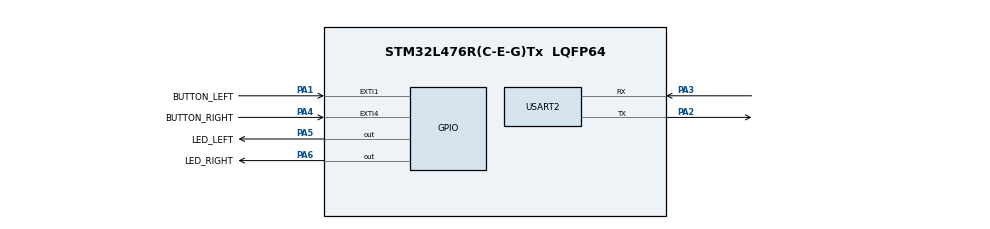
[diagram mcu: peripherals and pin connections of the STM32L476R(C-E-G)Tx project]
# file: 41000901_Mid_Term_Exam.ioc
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Mcu.Family=STM32L4
Mcu.Name=STM32L476R(C-E-G)Tx
Mcu.Package=LQFP64
NVIC.EXTI1_IRQn=true\:0\:0\:false\:false\:true\:true\:true\:true
NVIC.EXTI4_IRQn=true\:0\:0\:false\:false\:true\:true\:true\:true
NVIC.PriorityGroup=NVIC_PRIORITYGROUP_4
PA1.GPIO_Label=BUTTON_LEFT
PA1.Signal=GPXTI1
PA2.Mode=Asynchronous
PA2.Signal=USART2_TX
PA3.Mode=Asynchronous
PA3.Signal=USART2_RX
PA4.GPIO_Label=BUTTON_RIGHT
PA4.Signal=GPXTI4
PA5.GPIO_Label=LED_LEFT
PA5.PinState=GPIO_PIN_SET
PA5.Signal=GPIO_Output
PA6.GPIO_Label=LED_RIGHT
PA6.PinState=GPIO_PIN_SET
PA6.Signal=GPIO_Output
ProjectManager.HeapSize=0x200
ProjectManager.StackSize=0x400
ProjectManager.TargetToolchain=STM32CubeIDE
RCC.HSE_VALUE=8000000
RCC.HSI_VALUE=16000000
RCC.LSE_VALUE=32768
RCC.MSI_VALUE=4000000
RCC.VCOOutputFreq_Value=32000000
USART2.VirtualMode-Asynchronous=VM_ASYNC
board=custom

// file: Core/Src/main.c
/* USER CODE BEGIN Header */
/**
  ******************************************************************************
  * @file           : main.c
  * @brief          : Main program body
  ******************************************************************************
  * @attention
  *
  * Copyright (c) 2024 STMicroelectronics.
  * All rights reserved.
  *
  * This software is licensed under terms that can be found in the LICENSE file
  * in the root directory of this software component.
  * If no LICENSE file comes with this software, it is provided AS-IS.
  *
  ******************************************************************************
  */
/* USER CODE END Header */
#include "main.h"

UART_HandleTypeDef huart2;

/* USER CODE BEGIN PV */
uint32_t left_toggles = 0;
uint8_t BANDERALEFT1=0;
uint8_t BANDERALEFT2=0;
uint8_t BANDERARIGHT1=0;
uint8_t BANDERARIGHT2=0;
uint32_t buttonPressCount = 0;
uint32_t button2PressCount = 0;
uint32_t button3PressCount = 0;
uint32_t lastButtonPressTime = 0;
uint32_t debounceTime = 200; // Tiempo de debounce en ms
uint32_t doublePressTime = 500; // Tiempo máximo entre dos pulsaciones para considerar una doble pulsación
/* USER CODE END PV */

void SystemClock_Config(void);
static void MX_GPIO_Init(void);
static void MX_USART2_UART_Init(void);

/* USER CODE BEGIN 0 */
void turn_signal_left(void) //FUNCION ENCARGADA DEL ENCENDIDO Y APAGADO DEL LEDLEFT
{
	static uint32_t hearbeat_tick = 0;
	if (hearbeat_tick < HAL_GetTick()){
		hearbeat_tick = HAL_GetTick() + 500; //500 milisegundos para tener una frecuencia de 2Hz
		HAL_GPIO_TogglePin(LED_LEFT_GPIO_Port, LED_LEFT_Pin);
	}}
void turn_signal_right(void) //FUNCION ENCARGADA DEL ENCENDIDO Y APAGADO DEL LEDRIGHT
{
	static uint32_t hearbeat_tick = 0;
	if (hearbeat_tick < HAL_GetTick()){
		hearbeat_tick = HAL_GetTick() + 500;
		HAL_GPIO_TogglePin(LED_RIGHT_GPIO_Port, LED_RIGHT_Pin);
	}}

void HAL_GPIO_EXTI_Callback(uint16_t GPIO_Pin) {
    if (GPIO_Pin == BUTTON_LEFT_Pin) {
         uint32_t currentTime = HAL_GetTick();
        if (currentTime - lastButtonPressTime > debounceTime) {
            // Detectar número de pulsaciones seguidas
            if (currentTime - lastButtonPressTime < doublePressTime) {
                buttonPressCount++;
            } else {
                buttonPressCount = 1; // Reiniciar si la pulsación no es seguida
            }
            lastButtonPressTime = currentTime;

            // Manejo de acciones según el número de pulsaciones
            if (buttonPressCount == 1) { //UNA PULSACION
            	BANDERALEFT1=1;
            	HAL_UART_Transmit(&huart2, "LEFT\r\n", 6, 10);
}

             if (buttonPressCount == 2) { //UNA PULSACION
            	BANDERALEFT2=1;
            	HAL_UART_Transmit(&huart2, "LEFT\r\n", 6, 10);

            }
        }
    }

    if (GPIO_Pin == BUTTON_RIGHT_Pin) {
        uint32_t currentTime = HAL_GetTick();
        if (currentTime - lastButtonPressTime > debounceTime) {
            // Detectar número de pulsaciones seguidas
            if (currentTime - lastButtonPressTime < doublePressTime) {
                buttonPressCount++;
            } else {
                buttonPressCount = 1; // Reiniciar si la pulsación no es seguida
            }
            lastButtonPressTime = currentTime;

            // Manejo de acciones según el número de pulsaciones
            if (buttonPressCount == 1) { //UNA PULSACION

            	HAL_UART_Transmit(&huart2, "RIGHT\r\n", 7, 10);
            	BANDERARIGHT1=1;

            } else if (buttonPressCount == 2) { //DOS PULSACIONES

            	HAL_UART_Transmit(&huart2, "RIGHT\r\n", 7, 10);
            	BANDERARIGHT2=1;

            }
        }
    }
}
/* USER CODE END 0 */

int main(void)
{

  /* MCU Configuration--------------------------------------------------------*/

  /* Reset of all peripherals, Initializes the Flash interface and the Systick. */
  HAL_Init();

  /* Configure the system clock */
  SystemClock_Config();

  /* Initialize all configured peripherals */
  MX_GPIO_Init();
  MX_USART2_UART_Init();

  /* Infinite loop */
  /* USER CODE BEGIN WHILE */
  while (1)
  {
//    /* USER CODE END WHILE */
	  if(BANDERALEFT1!=0){
		  turn_signal_left();
	  }

	  if(BANDERARIGHT1!=0){
		  turn_signal_right();

	  }

}}

void SystemClock_Config(void)
{
  RCC_OscInitTypeDef RCC_OscInitStruct = {0};
  RCC_ClkInitTypeDef RCC_ClkInitStruct = {0};

  /** Configure the main internal regulator output voltage
  */
  if (HAL_PWREx_ControlVoltageScaling(PWR_REGULATOR_VOLTAGE_SCALE1) != HAL_OK)
  {
    Error_Handler();
  }

  /** Initializes the RCC Oscillators according to the specified parameters
  * in the RCC_OscInitTypeDef structure.
  */
  RCC_OscInitStruct.OscillatorType = RCC_OSCILLATORTYPE_MSI;
  RCC_OscInitStruct.MSIState = RCC_MSI_ON;
  RCC_OscInitStruct.MSICalibrationValue = 0;
  RCC_OscInitStruct.MSIClockRange = RCC_MSIRANGE_6;
  RCC_OscInitStruct.PLL.PLLState = RCC_PLL_NONE;
  if (HAL_RCC_OscConfig(&RCC_OscInitStruct) != HAL_OK)
  {
    Error_Handler();
  }

  /** Initializes the CPU, AHB and APB buses clocks
  */
  RCC_ClkInitStruct.ClockType = RCC_CLOCKTYPE_HCLK|RCC_CLOCKTYPE_SYSCLK
                              |RCC_CLOCKTYPE_PCLK1|RCC_CLOCKTYPE_PCLK2;
  RCC_ClkInitStruct.SYSCLKSource = RCC_SYSCLKSOURCE_MSI;
  RCC_ClkInitStruct.AHBCLKDivider = RCC_SYSCLK_DIV1;
  RCC_ClkInitStruct.APB1CLKDivider = RCC_HCLK_DIV1;
  RCC_ClkInitStruct.APB2CLKDivider = RCC_HCLK_DIV1;

  if (HAL_RCC_ClockConfig(&RCC_ClkInitStruct, FLASH_LATENCY_0) != HAL_OK)
  {
    Error_Handler();
  }
}

static void MX_USART2_UART_Init(void)
{

  huart2.Instance = USART2;
  huart2.Init.BaudRate = 115200;
  huart2.Init.WordLength = UART_WORDLENGTH_8B;
  huart2.Init.StopBits = UART_STOPBITS_1;
  huart2.Init.Parity = UART_PARITY_NONE;
  huart2.Init.Mode = UART_MODE_TX_RX;
  huart2.Init.HwFlowCtl = UART_HWCONTROL_NONE;
  huart2.Init.OverSampling = UART_OVERSAMPLING_16;
  huart2.Init.OneBitSampling = UART_ONE_BIT_SAMPLE_DISABLE;
  huart2.AdvancedInit.AdvFeatureInit = UART_ADVFEATURE_NO_INIT;
  if (HAL_UART_Init(&huart2) != HAL_OK)
  {
    Error_Handler();
  }

}

static void MX_GPIO_Init(void)
{
  GPIO_InitTypeDef GPIO_InitStruct = {0};

  /* GPIO Ports Clock Enable */
  __HAL_RCC_GPIOA_CLK_ENABLE();

  /*Configure GPIO pin Output Level */
  HAL_GPIO_WritePin(GPIOA, LED_LEFT_Pin|LED_RIGHT_Pin, GPIO_PIN_SET);

  /*Configure GPIO pins : BUTTON_LEFT_Pin BUTTON_RIGHT_Pin */
  GPIO_InitStruct.Pin = BUTTON_LEFT_Pin|BUTTON_RIGHT_Pin;
  GPIO_InitStruct.Mode = GPIO_MODE_IT_RISING;
  GPIO_InitStruct.Pull = GPIO_NOPULL;
  HAL_GPIO_Init(GPIOA, &GPIO_InitStruct);

  /*Configure GPIO pins : LED_LEFT_Pin LED_RIGHT_Pin */
  GPIO_InitStruct.Pin = LED_LEFT_Pin|LED_RIGHT_Pin;
  GPIO_InitStruct.Mode = GPIO_MODE_OUTPUT_PP;
  GPIO_InitStruct.Pull = GPIO_NOPULL;
  GPIO_InitStruct.Speed = GPIO_SPEED_FREQ_LOW;
  HAL_GPIO_Init(GPIOA, &GPIO_InitStruct);

  /* EXTI interrupt init*/
  HAL_NVIC_SetPriority(EXTI1_IRQn, 0, 0);
  HAL_NVIC_EnableIRQ(EXTI1_IRQn);

  HAL_NVIC_SetPriority(EXTI4_IRQn, 0, 0);
  HAL_NVIC_EnableIRQ(EXTI4_IRQn);

}

void Error_Handler(void)
{
  __disable_irq();
  while (1)
  {
  }
}
